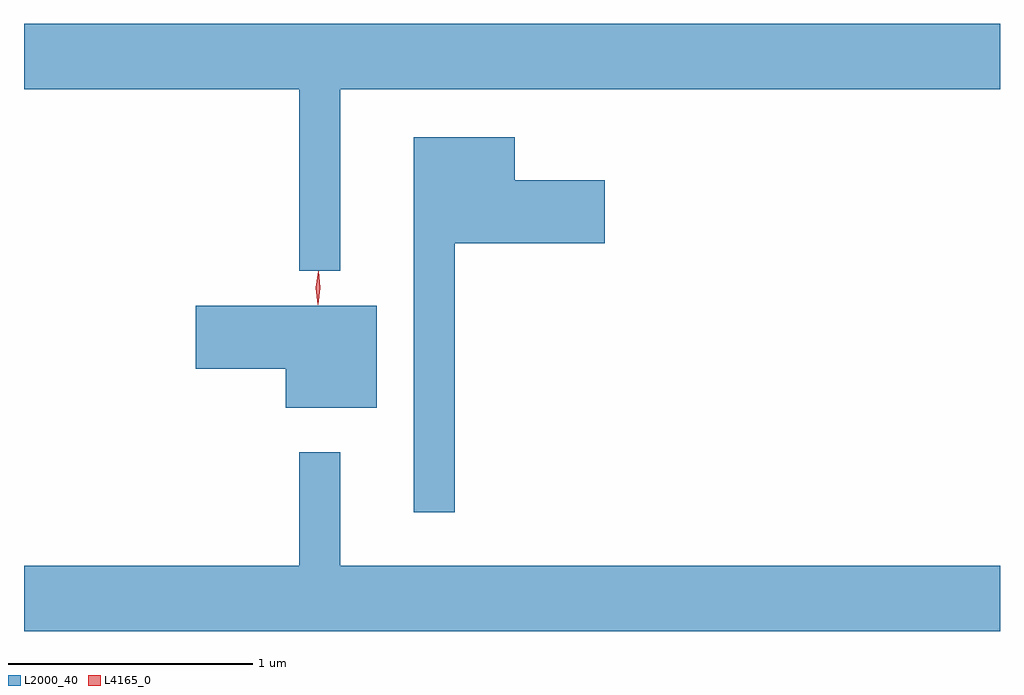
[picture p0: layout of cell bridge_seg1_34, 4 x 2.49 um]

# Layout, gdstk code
import gdstk
lib = gdstk.Library(unit=1e-6, precision=1e-09)
def P(c, l, *ps):  # polygons
    for p in ps: c.add(gdstk.Polygon(p, *l))
L2000_40 = (2000, 40)
L4165_0 = (4165, 0)

bridge_seg1_34 = lib.new_cell('bridge_seg1_34')
P(bridge_seg1_34, L2000_40, [(1569.349,857.396),(1572.053,857.396),(1572.053,857.664),(1568.053,857.664),(1568.053,857.396),(1569.181,857.396),(1569.181,856.653),(1569.349,856.653)],
  [(1569.819,856.766),(1570.434,856.766),(1570.434,857.024),(1570.064,857.024),(1570.064,857.199),(1569.651,857.199),(1569.651,855.663),(1569.819,855.663)],
  [(1569.499,856.509),(1568.756,856.509),(1568.756,856.251),(1569.126,856.251),(1569.126,856.091),(1569.499,856.091)],
  [(1572.053,855.444),(1569.349,855.444),(1569.349,855.908),(1569.181,855.908),(1569.181,855.444),(1568.053,855.444),(1568.053,855.176),(1572.053,855.176)])
P(bridge_seg1_34, L4165_0, [(1569.257,856.514),(1569.249,856.582),(1569.259,856.65),(1569.26,856.65),(1569.26,856.65),(1569.268,856.582),(1569.258,856.514),(1569.258,856.514)],
  [(1569.258,856.52),(1569.257,856.521),(1569.249,856.584),(1569.259,856.646),(1569.26,856.647),(1569.26,856.646),(1569.268,856.584),(1569.258,856.521)])

lib.write_gds('bridge_seg1_34.gds')
